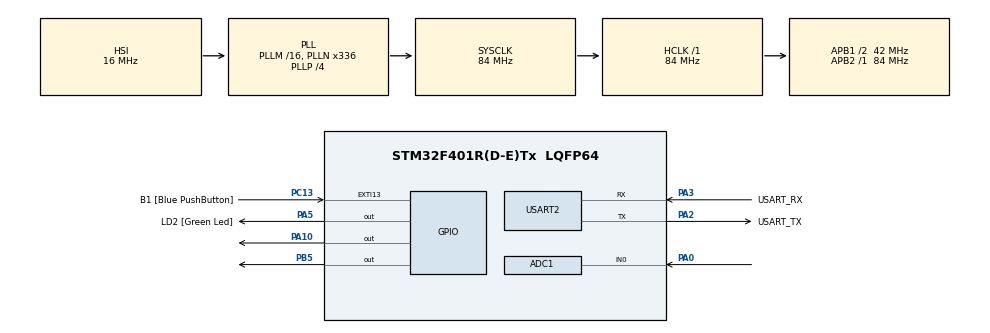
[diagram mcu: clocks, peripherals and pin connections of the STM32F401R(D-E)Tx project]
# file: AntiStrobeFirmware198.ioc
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ADC1.Channel-0\#ChannelRegularConversion=ADC_CHANNEL_0
ADC1.NbrOfConversionFlag=1
ADC1.Rank-0\#ChannelRegularConversion=1
ADC1.SamplingTime-0\#ChannelRegularConversion=ADC_SAMPLETIME_3CYCLES
ADC1.master=1
Mcu.Family=STM32F4
Mcu.Name=STM32F401R(D-E)Tx
Mcu.Package=LQFP64
NVIC.PriorityGroup=NVIC_PRIORITYGROUP_0
PA0-WKUP.Signal=ADCx_IN0
PA10.Signal=GPIO_Output
PA13.GPIO_Label=TMS
PA13.Mode=Serial_Wire
PA13.Signal=SYS_JTMS-SWDIO
PA14.GPIO_Label=TCK
PA14.Mode=Serial_Wire
PA14.Signal=SYS_JTCK-SWCLK
PA2.GPIO_Label=USART_TX
PA2.GPIO_Mode=GPIO_MODE_AF_PP
PA2.GPIO_PuPd=GPIO_NOPULL
PA2.GPIO_Speed=GPIO_SPEED_FREQ_LOW
PA2.Mode=Asynchronous
PA2.Signal=USART2_TX
PA3.GPIO_Label=USART_RX
PA3.GPIO_Mode=GPIO_MODE_AF_PP
PA3.GPIO_PuPd=GPIO_NOPULL
PA3.GPIO_Speed=GPIO_SPEED_FREQ_LOW
PA3.Mode=Asynchronous
PA3.Signal=USART2_RX
PA5.GPIO_Label=LD2 [Green Led]
PA5.GPIO_Mode=GPIO_MODE_OUTPUT_PP
PA5.GPIO_PuPd=GPIO_NOPULL
PA5.GPIO_Speed=GPIO_SPEED_FREQ_LOW
PA5.Signal=GPIO_Output
PB3.GPIO_Label=SWO
PB3.Signal=SYS_JTDO-SWO
PB5.Signal=GPIO_Output
PC13-ANTI_TAMP.GPIO_Label=B1 [Blue PushButton]
PC13-ANTI_TAMP.GPIO_ModeDefaultEXTI=GPIO_MODE_IT_FALLING
PC13-ANTI_TAMP.GPIO_PuPd=GPIO_NOPULL
PC13-ANTI_TAMP.Signal=GPXTI13
PC14-OSC32_IN.Mode=LSE-External-Oscillator
PC14-OSC32_IN.Signal=RCC_OSC32_IN
PC15-OSC32_OUT.Mode=LSE-External-Oscillator
PC15-OSC32_OUT.Signal=RCC_OSC32_OUT
PH0\ -\ OSC_IN.Mode=HSE-External-Clock-Source
PH0\ -\ OSC_IN.Signal=RCC_OSC_IN
PH1\ -\ OSC_OUT.Mode=HSE-External-Clock-Source
PH1\ -\ OSC_OUT.Signal=RCC_OSC_OUT
ProjectManager.HeapSize=0x200
ProjectManager.StackSize=0x400
ProjectManager.TargetToolchain=STM32CubeIDE
RCC.48MHZClocksFreq_Value=48000000
RCC.AHBFreq_Value=84000000
RCC.APB1CLKDivider=RCC_HCLK_DIV2
RCC.APB1Freq_Value=42000000
RCC.APB1TimFreq_Value=84000000
RCC.APB2Freq_Value=84000000
RCC.APB2TimFreq_Value=84000000
RCC.CortexFreq_Value=84000000
RCC.HCLKFreq_Value=84000000
RCC.HSE_VALUE=8000000
RCC.HSI_VALUE=16000000
RCC.PLLN=336
RCC.PLLP=RCC_PLLP_DIV4
RCC.PLLQ=7
RCC.SYSCLKFreq_VALUE=84000000
RCC.SYSCLKSource=RCC_SYSCLKSOURCE_PLLCLK
RCC.VCOOutputFreq_Value=336000000
SH.ADCx_IN0.0=ADC1_IN0,IN0
USART2.VirtualMode=VM_ASYNC
board=NUCLEO-F401RE

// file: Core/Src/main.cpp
/* USER CODE BEGIN Header */
/**
  ******************************************************************************
  * @file           : main.c
  * @brief          : Main program body
  ******************************************************************************
  * @attention
  *
  * Copyright (c) 2023 STMicroelectronics.
  * All rights reserved.
  *
  * This software is licensed under terms that can be found in the LICENSE file
  * in the root directory of this software component.
  * If no LICENSE file comes with this software, it is provided AS-IS.
  *
  ******************************************************************************
  */
/* USER CODE END Header */
#include "main.h"

/* USER CODE BEGIN Includes */
#include <cstring>
#include <cstdio>
#include <iostream>
/* USER CODE END Includes */

/* USER CODE BEGIN PD */
void blind(bool vision_state);
void sight(bool vision_state);
void increment(int *i, int cap);
int my_abs(int i);
/* USER CODE END PD */

ADC_HandleTypeDef hadc1;

UART_HandleTypeDef huart2;

void SystemClock_Config(void);
static void MX_GPIO_Init(void);
static void MX_USART2_UART_Init(void);
static void MX_ADC1_Init(void);

int main(void)
{

  /* MCU Configuration--------------------------------------------------------*/

  /* Reset of all peripherals, Initializes the Flash interface and the Systick. */
  HAL_Init();

  /* Configure the system clock */
  SystemClock_Config();

  /* Initialize all configured peripherals */
  MX_GPIO_Init();
  MX_USART2_UART_Init();
  MX_ADC1_Init();
  /* USER CODE BEGIN 2 */

  int const FLASH_COUNT = 12;
  int const AVERAGE_THRESHOLD = 40;
  int const SENSOR_DELAY = 1;
  int const REFRESH_DELAY = 1000;

  int slope_arr[FLASH_COUNT];
  int slope_arr_neg[FLASH_COUNT];
  int stored_intensity = 50000; // Large initial value to assign the initial value, ensures that a turning point will be marked on the first step.
  int previous_intensity = 0;
  int blind_count = 0;
  bool increasing = false;
  bool vision_state{true};
  char msg[20];
  int lux = 0;
  int i = 0;
  int j = 0;

  /* USER CODE END 2 */

  /* Infinite loop */
  /* USER CODE BEGIN WHILE */
  while (1)
  {

	  std::cout << "Goodbye World!" << std::endl;

	  HAL_ADC_Start(&hadc1);
	  HAL_ADC_PollForConversion(&hadc1, HAL_MAX_DELAY);
	  lux = HAL_ADC_GetValue(&hadc1);
	  sprintf(msg,"light: %hu \r\n", lux);
	  HAL_UART_Transmit(&huart2,(uint8_t*)msg, strlen(msg), HAL_MAX_DELAY);
	  HAL_Delay(SENSOR_DELAY);//500ms

	  // Finds a turning point.
	  if ((increasing && lux < stored_intensity)) {

		  slope_arr[i] = my_abs(stored_intensity - previous_intensity);
		  increment(&i, FLASH_COUNT);

		  previous_intensity = stored_intensity;
		  increasing = 0;

	  }

	  if ((!increasing && lux > stored_intensity)) {

		  slope_arr_neg[j] = my_abs(stored_intensity - previous_intensity);
		  increment(&i, FLASH_COUNT);

		  previous_intensity = stored_intensity;
		  increasing = 1;

	  }

	  stored_intensity = lux;

	 int sum = 0;
	 int sum_neg = 0;
	 // Calculate the average of all slopes.
	 for (int k = 0; k < FLASH_COUNT; ++k) {

		 	sum += slope_arr[k];
		 	sum_neg -= slope_arr_neg[k];

	 }

	 sprintf(msg, "slope_value: %hu \r\n", (sum/FLASH_COUNT));
	 HAL_UART_Transmit(&huart2,(uint8_t*)msg, strlen(msg),HAL_MAX_DELAY);
	 sprintf(msg, "slope_value_neg: %hu \r\n", (sum_neg)/FLASH_COUNT);
	 HAL_UART_Transmit(&huart2,(uint8_t*)msg, strlen(msg),HAL_MAX_DELAY);

	 if (sum / FLASH_COUNT > AVERAGE_THRESHOLD && vision_state && lux > 2000 && sum_neg > AVERAGE_THRESHOLD) {

		 blind(vision_state);
		 vision_state = false;
		 blind_count = 0;

	 } else if (!vision_state) {

		 ++blind_count;

		 if (blind_count > REFRESH_DELAY && (sum / FLASH_COUNT) < AVERAGE_THRESHOLD) {

			 sight(vision_state);
			 vision_state = true;

		 }

	 }

    /* USER CODE END WHILE */

  }
}

void SystemClock_Config(void)
{
  RCC_OscInitTypeDef RCC_OscInitStruct = {0};
  RCC_ClkInitTypeDef RCC_ClkInitStruct = {0};

  /** Configure the main internal regulator output voltage
  */
  __HAL_RCC_PWR_CLK_ENABLE();
  __HAL_PWR_VOLTAGESCALING_CONFIG(PWR_REGULATOR_VOLTAGE_SCALE2);

  /** Initializes the RCC Oscillators according to the specified parameters
  * in the RCC_OscInitTypeDef structure.
  */
  RCC_OscInitStruct.OscillatorType = RCC_OSCILLATORTYPE_HSI;
  RCC_OscInitStruct.HSIState = RCC_HSI_ON;
  RCC_OscInitStruct.HSICalibrationValue = RCC_HSICALIBRATION_DEFAULT;
  RCC_OscInitStruct.PLL.PLLState = RCC_PLL_ON;
  RCC_OscInitStruct.PLL.PLLSource = RCC_PLLSOURCE_HSI;
  RCC_OscInitStruct.PLL.PLLM = 16;
  RCC_OscInitStruct.PLL.PLLN = 336;
  RCC_OscInitStruct.PLL.PLLP = RCC_PLLP_DIV4;
  RCC_OscInitStruct.PLL.PLLQ = 7;
  if (HAL_RCC_OscConfig(&RCC_OscInitStruct) != HAL_OK)
  {
    Error_Handler();
  }

  /** Initializes the CPU, AHB and APB buses clocks
  */
  RCC_ClkInitStruct.ClockType = RCC_CLOCKTYPE_HCLK|RCC_CLOCKTYPE_SYSCLK
                              |RCC_CLOCKTYPE_PCLK1|RCC_CLOCKTYPE_PCLK2;
  RCC_ClkInitStruct.SYSCLKSource = RCC_SYSCLKSOURCE_PLLCLK;
  RCC_ClkInitStruct.AHBCLKDivider = RCC_SYSCLK_DIV1;
  RCC_ClkInitStruct.APB1CLKDivider = RCC_HCLK_DIV2;
  RCC_ClkInitStruct.APB2CLKDivider = RCC_HCLK_DIV1;

  if (HAL_RCC_ClockConfig(&RCC_ClkInitStruct, FLASH_LATENCY_2) != HAL_OK)
  {
    Error_Handler();
  }
}

static void MX_ADC1_Init(void)
{

  ADC_ChannelConfTypeDef sConfig = {0};

  /** Configure the global features of the ADC (Clock, Resolution, Data Alignment and number of conversion)
  */
  hadc1.Instance = ADC1;
  hadc1.Init.ClockPrescaler = ADC_CLOCK_SYNC_PCLK_DIV4;
  hadc1.Init.Resolution = ADC_RESOLUTION_12B;
  hadc1.Init.ScanConvMode = DISABLE;
  hadc1.Init.ContinuousConvMode = DISABLE;
  hadc1.Init.DiscontinuousConvMode = DISABLE;
  hadc1.Init.ExternalTrigConvEdge = ADC_EXTERNALTRIGCONVEDGE_NONE;
  hadc1.Init.ExternalTrigConv = ADC_SOFTWARE_START;
  hadc1.Init.DataAlign = ADC_DATAALIGN_RIGHT;
  hadc1.Init.NbrOfConversion = 1;
  hadc1.Init.DMAContinuousRequests = DISABLE;
  hadc1.Init.EOCSelection = ADC_EOC_SINGLE_CONV;
  if (HAL_ADC_Init(&hadc1) != HAL_OK)
  {
    Error_Handler();
  }

  /** Configure for the selected ADC regular channel its corresponding rank in the sequencer and its sample time.
  */
  sConfig.Channel = ADC_CHANNEL_0;
  sConfig.Rank = 1;
  sConfig.SamplingTime = ADC_SAMPLETIME_3CYCLES;
  if (HAL_ADC_ConfigChannel(&hadc1, &sConfig) != HAL_OK)
  {
    Error_Handler();
  }

}

static void MX_USART2_UART_Init(void)
{

  huart2.Instance = USART2;
  huart2.Init.BaudRate = 115200;
  huart2.Init.WordLength = UART_WORDLENGTH_8B;
  huart2.Init.StopBits = UART_STOPBITS_1;
  huart2.Init.Parity = UART_PARITY_NONE;
  huart2.Init.Mode = UART_MODE_TX_RX;
  huart2.Init.HwFlowCtl = UART_HWCONTROL_NONE;
  huart2.Init.OverSampling = UART_OVERSAMPLING_16;
  if (HAL_UART_Init(&huart2) != HAL_OK)
  {
    Error_Handler();
  }

}

static void MX_GPIO_Init(void)
{
  GPIO_InitTypeDef GPIO_InitStruct = {0};

  /* GPIO Ports Clock Enable */
  __HAL_RCC_GPIOC_CLK_ENABLE();
  __HAL_RCC_GPIOH_CLK_ENABLE();
  __HAL_RCC_GPIOA_CLK_ENABLE();
  __HAL_RCC_GPIOB_CLK_ENABLE();

  /*Configure GPIO pin Output Level */
  HAL_GPIO_WritePin(GPIOA, LD2_Pin|GPIO_PIN_10, GPIO_PIN_RESET);

  /*Configure GPIO pin Output Level */
  HAL_GPIO_WritePin(GPIOB, GPIO_PIN_5, GPIO_PIN_RESET);

  /*Configure GPIO pin : B1_Pin */
  GPIO_InitStruct.Pin = B1_Pin;
  GPIO_InitStruct.Mode = GPIO_MODE_IT_FALLING;
  GPIO_InitStruct.Pull = GPIO_NOPULL;
  HAL_GPIO_Init(B1_GPIO_Port, &GPIO_InitStruct);

  /*Configure GPIO pins : LD2_Pin PA10 */
  GPIO_InitStruct.Pin = LD2_Pin|GPIO_PIN_10;
  GPIO_InitStruct.Mode = GPIO_MODE_OUTPUT_PP;
  GPIO_InitStruct.Pull = GPIO_NOPULL;
  GPIO_InitStruct.Speed = GPIO_SPEED_FREQ_LOW;
  HAL_GPIO_Init(GPIOA, &GPIO_InitStruct);

  /*Configure GPIO pin : PB5 */
  GPIO_InitStruct.Pin = GPIO_PIN_5;
  GPIO_InitStruct.Mode = GPIO_MODE_OUTPUT_PP;
  GPIO_InitStruct.Pull = GPIO_NOPULL;
  GPIO_InitStruct.Speed = GPIO_SPEED_FREQ_LOW;
  HAL_GPIO_Init(GPIOB, &GPIO_InitStruct);

}

/* USER CODE BEGIN 4 */
// Should only run if the user is not already blind.
void blind(bool vision_state) {

	std::string test_message{"BLINDED! BLINDED!\n\r"};
	const char* test_message_c{test_message.c_str()};

	HAL_UART_Transmit(&huart2,(uint8_t*)test_message_c, strlen(test_message_c), HAL_MAX_DELAY);

	  if (!vision_state) {

		  return;

	  }

	  // Turns on the motor in one direction. Note that other pin is low or ground.
	  HAL_GPIO_WritePin(GPIOA, GPIO_PIN_10, GPIO_PIN_SET);

	  HAL_Delay(200);

	  HAL_GPIO_WritePin(GPIOA, GPIO_PIN_10, GPIO_PIN_RESET);

	  return;

}

// Should only run if the user is not already seeing.
void sight(bool vision_state) {

	std::string test_message{"UNBLINDED! UNBLINDED!\n\r"};
	const char* test_message_c{test_message.c_str()};

	HAL_UART_Transmit(&huart2,(uint8_t*)test_message_c, strlen(test_message_c), HAL_MAX_DELAY);

	  if (vision_state) {

		  return;

	  }

	  // Turns on the motor in one direction. Note that other pin is low or ground.
	  HAL_GPIO_WritePin(GPIOB, GPIO_PIN_5, GPIO_PIN_SET);

	  HAL_Delay(200);

	  HAL_GPIO_WritePin(GPIOB, GPIO_PIN_5, GPIO_PIN_RESET);

	  return;

}

void increment(int *i, int cap) {

	++*i;

	if (*i == cap) {

		*i = 0;

	}

}

// Simple abs value function.
int my_abs(int i) {

	if (i < 0) {

		return -i;

	} else {

		return i;

	}

}

/* USER CODE END 4 */

void Error_Handler(void)
{
  __disable_irq();
  while (1)
  {
  }
}
